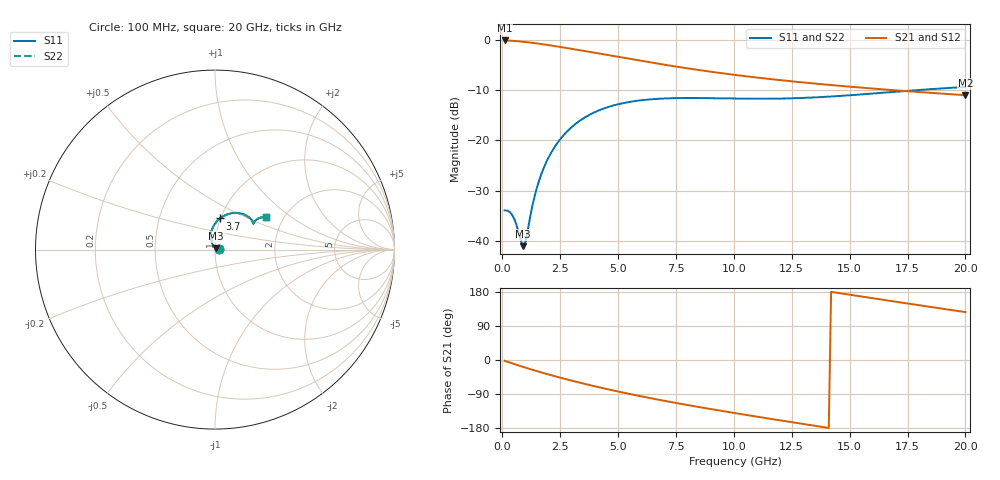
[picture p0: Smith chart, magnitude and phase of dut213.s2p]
! Touchstone file exported from HFSS 2024.1.0
!  File:  C:/UserFiles/LocalFiles/RDL_TSV_Batchsim/temp_RDL_TSV_213_1779447118.aedt
!  Generated:  07:07:22 PM May 22, 2026
!  Design:  RDL_TSV
!  Project:  temp_RDL_TSV_213_1779447118
!  Setup:  Setup1
!  Solution:  Sweep
! Variables:
!  dtsv = 8.47um
!  hbump = 3um
!  htsv = 91.32um
!  ldown = 234.41um
!  lrdl = 630.54um
!  p = 40
!  p1 = 59.34um
!  rhole = 10um
!  subl = 3225.39um
!  t = 450um
!  tdown = 2.1um
!  trdl = 2.07um
!  viad = 10um
!  wdown = 25.65um
!  wrdl = 29.74um
!  xbump = 18um
# GHz S MA R 50.000000
! Terminal data exported
! Port[1] = TM1_1_T1
! Port[2] = TM1_4_T1
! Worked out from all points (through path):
!   200 points, 100 MHz to 20 GHz, reference 50 ohm
!   highest |S21| = -0.18 dB at 100 MHz (marker M1); lowest = -11.0 dB at 20 GHz (marker M2)
!   group delay of S21, straight-line fit = 30.5 ps
!   lowest |S11| = -41.0 dB at 900 MHz (marker M3), VSWR 1.02, Z = 50.6 + j0.704 ohm
!   |S11| at or under -10 dB: start of sweep to 18.04 GHz
!   |S22| runs from -41.0 to -9.4 dB; largest |S21 - S12| = 3.9e-14
!   S11 on the Smith chart (normalised r, x): 100 MHz: 1.04, +0.00; 3.7 GHz: 0.99, +0.36; 20 GHz: 1.63, +0.67
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0.1  0.02014 2.1  0.9793 -2.1  0.9793 -2.1  0.02014 2.1
! Gamma 0 0 0 0
! Port Impedance 50 0 50 0
0.3  0.0196 4.3  0.9752 -6.3  0.9752 -6.3  0.0196 4.3
0.5  0.01691 6.4  0.9687 -10.4  0.9687 -10.4  0.01693 6.3
0.9  0.008894 51.5  0.9509 -18.2  0.9509 -18.2  0.008908 51.0
1  0.009798 77.7  0.9455 -20.2  0.9455 -20.2  0.009767 77.2
1.3  0.02243 111.6  0.9279 -25.8  0.9279 -25.8  0.02229 111.4
1.5  0.03419 114.7  0.9151 -29.4  0.9151 -29.4  0.034 114.6
1.7  0.04709 113.9  0.9016 -33.0  0.9016 -33.0  0.04684 113.8
1.9  0.06063 111.5  0.8877 -36.5  0.8877 -36.5  0.06033 111.5
2.2  0.08149 106.8  0.8664 -41.6  0.8664 -41.6  0.0811 106.7
2.6  0.1091 99.7  0.8375 -48.2  0.8375 -48.2  0.1086 99.6
3.5  0.165 84.2  0.7733 -62.1  0.7733 -62.1  0.1643 84.2
3.7  0.1757 81.1  0.7594 -65.1  0.7594 -65.1  0.1749 81.0
4.4  0.2075 71.0  0.7119 -75.0  0.7119 -75.0  0.2066 70.9
5.2  0.2334 61.3  0.6609 -85.8  0.6609 -85.8  0.2323 61.2
6.8  0.2587 47.0  0.5721 -105.4  0.5721 -105.4  0.2575 47.0
8.3  0.2628 39.0  0.5055 -122.1  0.5055 -122.1  0.2616 39.0
10.1  0.2595 34.6  0.4441 -140.7  0.4441 -140.7  0.2583 34.6
11.7  0.2589 34.0  0.4023 -156.4  0.4023 -156.4  0.2577 34.0
13.4  0.2658 34.9  0.3673 -172.7  0.3673 -172.7  0.2647 34.9
16.7  0.2996 35.6  0.3168 156.5  0.3168 156.5  0.2985 35.7
20  0.3383 32.3  0.2805 126.3  0.2805 126.3  0.3371 32.3
